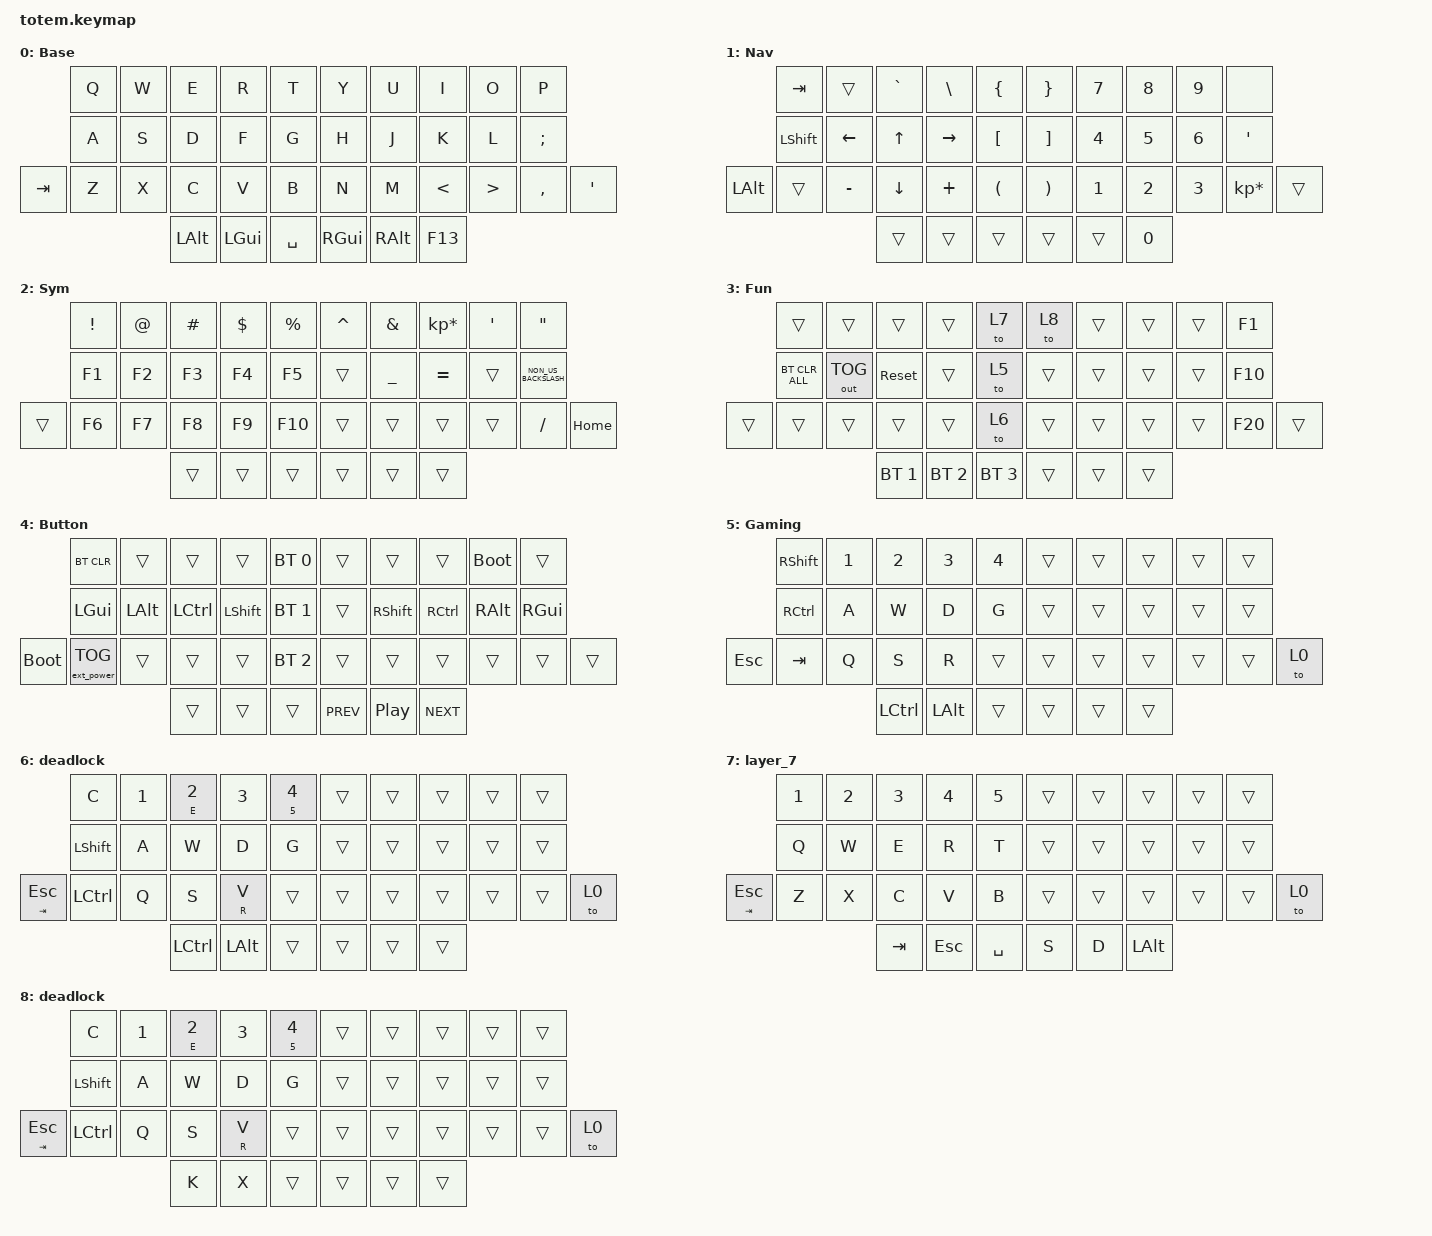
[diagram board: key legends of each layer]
//
//                                                        ▀▀▀▀▀     ▀▀▀▀▀          ▀▀█▀▀
//                                                        ▄▀▀▀▄  ▄  ▄▀▀▀▄  ▄  ▄▀▀▀▄  █  ▄▀▀▀▄
//                                                        █   █  █  █   █  █  █   █  █  █   █
//                                                         ▀▀▀   █   ▀▀▀   █   ▀▀▀   ▀   ▀▀▀
//                                                               █      ▄▄▄█▄▄▄    █   █  
//                                                               ▀      █  █  █     █▄█
//                                                             ▀▀▀▀▀    █  █  █      ▀
//                                                                      ▀  ▀  ▀
//
// ▄▄▄▄▄▄▄▄▄▄▄▄▄▄▄▄▄▄▄▄▄▄▄▄▄▄▄▄▄▄▄▄▄▄▄▄▄▄▄▄▄▄▄▄▄▄▄▄▄▄▄▄▄▄▄▄▄▄▄▄▄▄▄▄▄▄▄▄▄▄▄▄▄▄▄▄▄▄▄▄▄▄▄▄▄▄▄▄▄▄▄▄▄▄▄▄▄▄▄▄▄▄▄▄▄▄▄▄▄▄▄▄▄▄▄▄▄▄▄▄▄▄▄▄▄▄▄▄▄▄▄▄▄▄▄▄▄▄▄▄▄▄▄▄▄▄▄▄▄

#include <behaviors.dtsi>
#include <dt-bindings/zmk/bt.h>
#include <dt-bindings/zmk/ext_power.h>
#include <dt-bindings/zmk/keys.h>
#include <dt-bindings/zmk/outputs.h>

#define Base        0
#define Media       1
#define Nav         2
#define Mouse       3
#define Sym         4
#define Num         5
#define Fun         6
#define Button      7
#define Game        8
#define Gameplus    9

&mt {
    quick-tap-ms = <100>;
    global-quick-tap;
    flavor = "tap-preferred";
    tapping-term-ms = <170>;
};

&lt {
    tapping-term-ms = <240>;
    flavor = "balanced";
    quick-tap-ms = <150>;
};

/ {
    behaviors {
        hm: homerow_mods {
            compatible = "zmk,behavior-hold-tap";
            label = "HOMEROW_MODS";
            #binding-cells = <2>;
            flavor = "tap-preferred";
            tapping-term-ms = <200>;
            quick-tap-ms = <125>;
            global-quick-tap;
            bindings = <&kp>, <&kp>;
        };
    };

    combos { compatible = "zmk,combos"; };

    keymap {
        compatible = "zmk,keymap";

        Base {
            label = "Base";
            bindings = <
         &kp Q  &kp W  &kp E     &kp R     &kp T        &kp Y     &kp U     &kp I    &kp O   &kp P
         &kp A  &kp S  &kp D     &kp F     &kp G        &kp H     &kp J     &kp K    &kp L   &kp SEMICOLON
&kp TAB  &kp Z  &kp X  &kp C     &kp V     &kp B        &kp N     &kp M     &kp LT   &kp GT  &kp COMMA      &kp SQT
                       &kp LALT  &kp LGUI  &kp SPACE    &kp RGUI  &kp RALT  &kp F13
            >;
        };

        Nav {
            label = "Nav";
            bindings = <
              &kp TAB         &trans     &kp GRAVE     &kp BACKSLASH  &kp LBRC    &kp RBRC  &kp NUMBER_7  &kp NUMBER_8  &kp NUMBER_9  &none
              &kp LEFT_SHIFT  &kp LEFT   &kp UP_ARROW  &kp RIGHT      &kp LBKT    &kp RBKT  &kp NUMBER_4  &kp NUMBER_5  &kp NUMBER_6  &kp APOSTROPHE
&kp LEFT_ALT  &trans          &kp MINUS  &kp DOWN      &kp PLUS       &kp LPAR    &kp RPAR  &kp NUMBER_1  &kp NUMBER_2  &kp NUMBER_3  &kp KP_MULTIPLY  &trans
                                         &trans        &trans         &trans      &trans    &trans        &kp NUMBER_0
            >;
        };

        Sym {
            label = "Sym";
            bindings = <
        &kp EXCL  &kp AT  &kp HASH  &kp DOLLAR  &kp PERCENT    &kp CARET  &kp AMPERSAND  &kp KP_ASTERISK  &kp SQT  &kp DQT
        &kp F1    &kp F2  &kp F3    &kp F4      &kp F5         &trans     &kp UNDER      &kp EQUAL        &trans   &kp NON_US_BACKSLASH
&trans  &kp F6    &kp F7  &kp F8    &kp F9      &kp F10        &trans     &trans         &trans           &trans   &kp SLASH             &kp HOME
                          &trans    &trans      &trans         &trans     &trans         &trans
            >;
        };

        Fun {
            label = "Fun";
            bindings = <
        &trans          &trans        &trans        &trans        &to 7           &to 8   &trans  &trans  &trans  &kp F1
        &bt BT_CLR_ALL  &out OUT_TOG  &sys_reset    &trans        &to 5           &trans  &trans  &trans  &trans  &kp F10
&trans  &trans          &trans        &trans        &trans        &to 6           &trans  &trans  &trans  &trans  &kp F20  &trans
                                      &bt BT_SEL 1  &bt BT_SEL 2  &bt BT_SEL 3    &trans  &trans  &trans
            >;
        };

        Button {
            label = "Button";
            bindings = <
             &bt BT_CLR         &trans    &trans     &trans      &bt BT_SEL 0    &trans      &trans            &trans      &bootloader  &trans
             &kp LGUI           &kp LALT  &kp LCTRL  &kp LSHIFT  &bt BT_SEL 1    &trans      &kp RSHIFT        &kp RCTRL   &kp RALT     &kp RGUI
&bootloader  &ext_power EP_TOG  &trans    &trans     &trans      &bt BT_SEL 2    &trans      &trans            &trans      &trans       &trans    &trans
                                          &trans     &trans      &trans          &kp C_PREV  &kp C_PLAY_PAUSE  &kp C_NEXT
            >;
        };

        Gaming {
            bindings = <
            &kp RIGHT_SHIFT  &kp NUMBER_1  &kp NUMBER_2  &kp NUMBER_3  &kp NUMBER_4    &trans  &trans  &trans  &trans  &trans
            &kp RCTRL        &kp A         &kp W         &kp D         &kp G           &trans  &trans  &trans  &trans  &trans
&kp ESCAPE  &kp TAB          &kp Q         &kp S         &kp R         &trans          &trans  &trans  &trans  &trans  &trans  &to 0
                                           &kp LCTRL     &kp LEFT_ALT  &trans          &trans  &trans  &trans
            >;

            label = "Gaming";
        };

        deadlock {
            label = "deadlock";
            bindings = <
                &kp C       &kp NUMBER_1  &mt E NUMBER_2  &kp NUMBER_3  &mt N5 NUMBER_4    &trans  &trans  &trans  &trans  &trans
                &kp LSHIFT  &kp A         &kp W           &kp D         &kp G              &trans  &trans  &trans  &trans  &trans
&mt TAB ESCAPE  &kp LCTRL   &kp Q         &kp S           &mt R V       &trans             &trans  &trans  &trans  &trans  &trans  &to 0
                                          &kp LCTRL       &kp LEFT_ALT  &trans             &trans  &trans  &trans
            >;
        };

        layer_7 {
            bindings = <
                &kp N1  &kp N2  &kp N3   &kp N4   &kp N5       &trans  &trans  &trans    &trans  &trans
                &kp Q   &kp W   &kp E    &kp R    &kp T        &trans  &trans  &trans    &trans  &trans
&mt TAB ESCAPE  &kp Z   &kp X   &kp C    &kp V    &kp B        &trans  &trans  &trans    &trans  &trans  &to 0
                                &kp TAB  &kp ESC  &kp SPACE    &kp S   &kp D   &kp LALT
            >;
        };

        layer_8 {
            label = "deadlock";
            bindings = <
                &kp C       &kp NUMBER_1  &mt E NUMBER_2  &kp NUMBER_3  &mt N5 NUMBER_4    &trans  &trans  &trans  &trans  &trans
                &kp LSHIFT  &kp A         &kp W           &kp D         &kp G              &trans  &trans  &trans  &trans  &trans
&mt TAB ESCAPE  &kp LCTRL   &kp Q         &kp S           &mt R V       &trans             &trans  &trans  &trans  &trans  &trans  &to 0
                                          &kp K           &kp X         &trans             &trans  &trans  &trans
            >;
        };
    };
};
